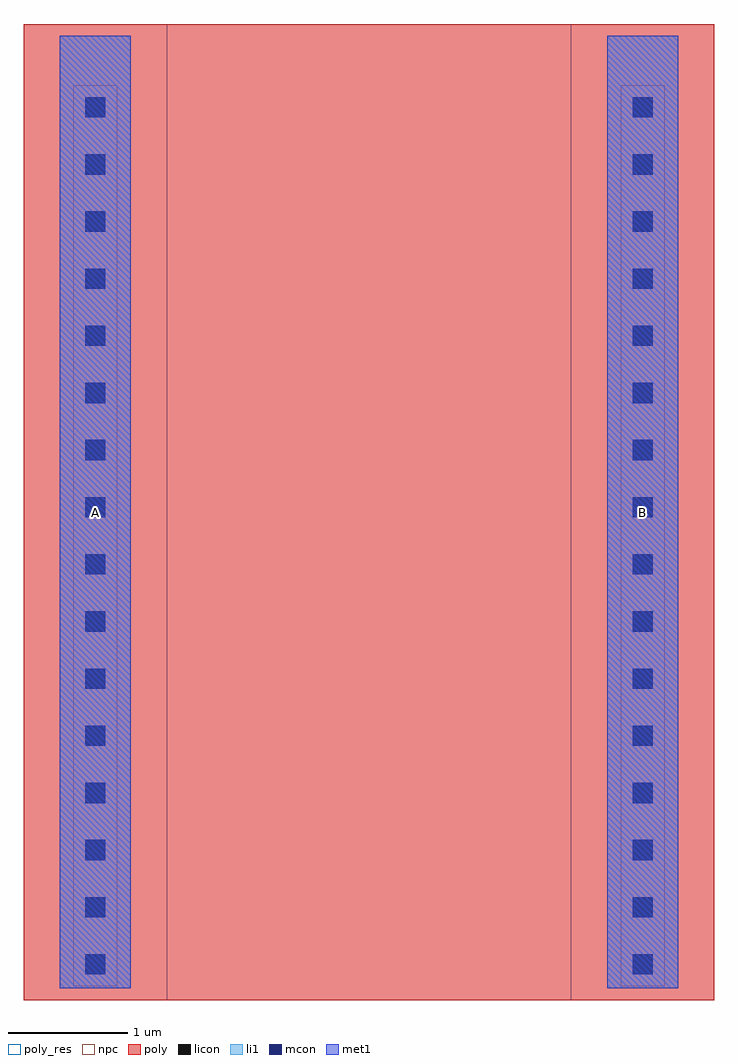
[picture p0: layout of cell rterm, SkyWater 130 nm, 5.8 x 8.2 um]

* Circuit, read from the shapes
.subckt rterm A B
R1 B A sky130_fd_pr__res_generic_po w=8.2 l=3.4
.ends

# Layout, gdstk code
import gdstk
lib = gdstk.Library(unit=1e-6, precision=1e-09)
def R(c, l, rs):  # rectangles x0, y0, x1, y1
    for r in rs: c.add(gdstk.rectangle(r[:2], r[2:], *l))
def A(c, l, x, y, w, h, nx, ny, dx, dy):  # array of equal rectangles
    R(c, l, [(x+i*dx, y+j*dy, x+i*dx+w, y+j*dy+h) for i in range(nx) for j in range(ny)])
poly_res = (66, 13)
poly = (66, 20)
licon = (66, 44)
li1 = (67, 20)
mcon = (67, 44)
met1 = (68, 20)
npc = (95, 20)

rterm = lib.new_cell('rterm')
R(rterm, poly_res, [(1.2,0,4.6,8.2)])
R(rterm, poly, [(0,0,5.8,8.2)])
A(rterm, licon, 0.515, 0.215, 0.17, 0.17, 1, 16, 0, 0.48)
A(rterm, licon, 5.115, 0.215, 0.17, 0.17, 1, 16, 0, 0.48)
R(rterm, li1, [(0.3,0.1,0.9,8.1), (4.9,0.1,5.5,8.1)])
A(rterm, mcon, 0.515, 0.215, 0.17, 0.17, 1, 16, 0, 0.48)
A(rterm, mcon, 5.115, 0.215, 0.17, 0.17, 1, 16, 0, 0.48)
R(rterm, met1, [(0.3,0.1,0.9,8.1), (4.9,0.1,5.5,8.1)])
R(rterm, npc, [(0.415,0.115,0.785,7.685), (5.015,0.115,5.385,7.685)])
rterm.add(gdstk.Label('A', (0.6,4.1), layer=68, texttype=5))
rterm.add(gdstk.Label('B', (5.2,4.1), layer=68, texttype=5))

lib.write_gds('rterm.gds')
